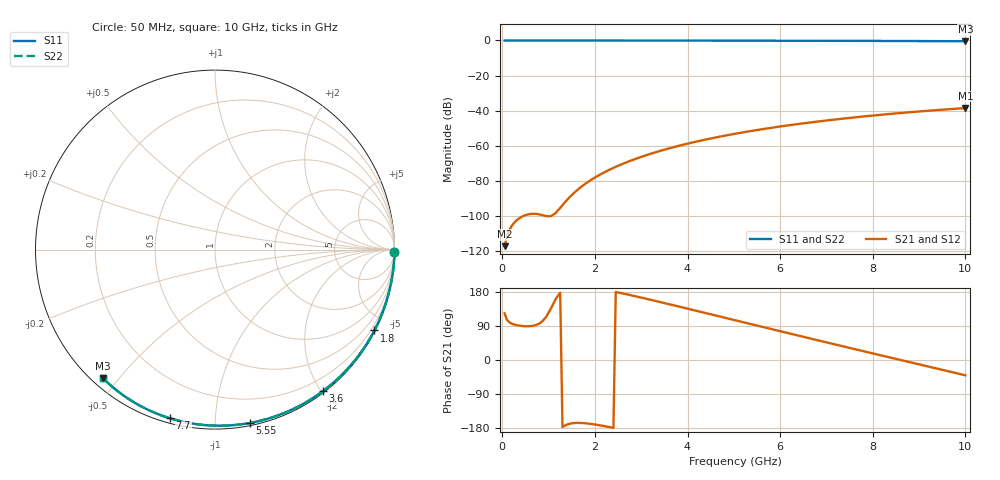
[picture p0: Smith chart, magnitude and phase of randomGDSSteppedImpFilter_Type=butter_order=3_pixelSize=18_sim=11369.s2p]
! freq	dB(S11)	phase(S11)	dB(S12)	phase(S12)
!  dB(S21)	phase(S21)	dB(S22)	phase(S22)
!S-par simulation data
#  GHz  S  DB  R 50
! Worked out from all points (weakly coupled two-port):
!   200 points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, 50 MHz to 10 GHz, reference 50 ohm
!   highest |S21| = -38.58 dB at 10 GHz (marker M1); lowest = -117.4 dB at 50 MHz (marker M2)
!   lowest |S11| = -0.4 dB at 10 GHz (marker M3), VSWR 39.13, Z = 1.54 - j22.7 ohm
!   |S11| at or under -10 dB: nowhere
!   |S22| runs from -0.4 to 0.0 dB; largest |S21 - S12| = 0
!   S11 on the Smith chart (normalised r, x): 50 MHz: open; 1.8 GHz: 0.04, -4.18; 3.6 GHz: 0.02, -2.02; 5.55 GHz: 0.02, -1.22; 7.7 GHz: 0.02, -0.77; 10 GHz: 0.03, -0.45
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0.05  -0.00 -0.8  -117.38 123.2  -117.38 123.2  -0.00 -0.8
0.45  -0.01 -6.8  -100.20 89.4  -100.20 89.4  -0.01 -6.8
0.9  -0.02 -13.6  -99.91 106.9  -99.91 106.9  -0.02 -13.6
1.75  -0.03 -26.2  -82.59 -166.5  -82.59 -166.5  -0.03 -26.2
1.8  -0.03 -26.9  -81.63 -167.0  -81.63 -167.0  -0.03 -26.9
1.9  -0.04 -28.4  -79.85 -168.4  -79.85 -168.4  -0.04 -28.4
2.05  -0.04 -30.5  -77.44 -171.1  -77.44 -171.1  -0.04 -30.5
2.25  -0.04 -33.5  -74.60 -175.5  -74.60 -175.5  -0.04 -33.5
2.45  -0.05 -36.3  -72.09 179.6  -72.09 179.6  -0.05 -36.3
2.65  -0.05 -39.2  -69.85 174.3  -69.85 174.3  -0.05 -39.2
3  -0.06 -44.2  -66.42 164.7  -66.42 164.7  -0.06 -44.2
3.4  -0.07 -49.8  -63.07 153.2  -63.07 153.2  -0.07 -49.8
3.6  -0.07 -52.6  -61.58 147.4  -61.58 147.4  -0.07 -52.6
4.3  -0.09 -62.2  -57.05 126.6  -57.05 126.6  -0.09 -62.2
5.05  -0.11 -72.1  -53.12 104.3  -53.12 104.3  -0.11 -72.1
5.55  -0.13 -78.6  -50.89 89.4  -50.89 89.4  -0.13 -78.6
6.1  -0.15 -85.5  -48.71 73.0  -48.71 73.0  -0.15 -85.5
6.7  -0.18 -92.9  -46.62 55.3  -46.62 55.3  -0.18 -92.9
7.7  -0.24 -104.9  -43.64 26.0  -43.64 26.0  -0.24 -104.9
8.35  -0.29 -112.5  -41.98 7.2  -41.98 7.2  -0.29 -112.5
9.15  -0.36 -121.6  -40.19 -15.8  -40.19 -15.8  -0.36 -121.6
10  -0.44 -131.2  -38.58 -40.4  -38.58 -40.4  -0.44 -131.2
